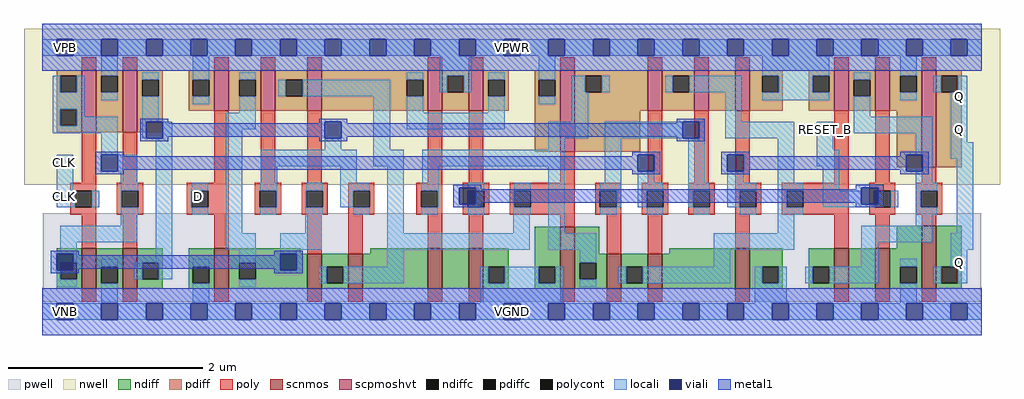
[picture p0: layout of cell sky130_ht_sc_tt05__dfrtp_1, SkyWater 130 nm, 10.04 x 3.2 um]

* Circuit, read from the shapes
.subckt sky130_ht_sc_tt05__dfrtp_1 CLK D RESET_B VGND VNB VPB VPWR Q
XM1 VGND CLK n1 VNB sky130_fd_pr__nfet_01v8 w=0.42 l=0.15
XM2 n2 n1 VGND VNB sky130_fd_pr__nfet_01v8 w=0.42 l=0.15
XM3 n3 D VGND VNB sky130_fd_pr__nfet_01v8 w=0.42 l=0.15
XM4 n4 n1 n3 VNB sky130_fd_pr__nfet_01v8 w=0.36 l=0.15
XM5 n5 n2 n4 VNB sky130_fd_pr__nfet_01v8 w=0.36 l=0.15
XM6 n6 n7 n5 VNB sky130_fd_pr__nfet_01v8 w=0.42 l=0.15
XM7 VGND RESET_B n6 VNB sky130_fd_pr__nfet_01v8 w=0.42 l=0.15
XM8 n7 n4 VGND VNB sky130_fd_pr__nfet_01v8 w=0.64 l=0.15
XM9 n8 n2 n7 VNB sky130_fd_pr__nfet_01v8 w=0.36 l=0.15
XM10 n9 n1 n8 VNB sky130_fd_pr__nfet_01v8 w=0.36 l=0.15
XM11 VGND n10 n9 VNB sky130_fd_pr__nfet_01v8 w=0.42 l=0.15
XM12 n11 n8 n10 VNB sky130_fd_pr__nfet_01v8 w=0.42 l=0.15
XM13 VGND RESET_B n11 VNB sky130_fd_pr__nfet_01v8 w=0.42 l=0.15
XM14 Q n10 VGND VNB sky130_fd_pr__nfet_01v8 w=0.65 l=0.15
XM15 VPWR CLK n1 VPB sky130_fd_pr__pfet_01v8_hvt w=0.64 l=0.15
XM16 n2 n1 VPWR VPB sky130_fd_pr__pfet_01v8_hvt w=0.64 l=0.15
XM17 n3 D VPWR VPB sky130_fd_pr__pfet_01v8_hvt w=0.42 l=0.15
XM18 n4 n2 n3 VPB sky130_fd_pr__pfet_01v8_hvt w=0.42 l=0.15
XM19 n12 n1 n4 VPB sky130_fd_pr__pfet_01v8_hvt w=0.42 l=0.15
XM20 VPWR n7 n12 VPB sky130_fd_pr__pfet_01v8_hvt w=0.42 l=0.15
XM21 n12 RESET_B VPWR VPB sky130_fd_pr__pfet_01v8_hvt w=0.42 l=0.15
XM22 n7 n4 VPWR VPB sky130_fd_pr__pfet_01v8_hvt w=0.84 l=0.15
XM23 n8 n1 n7 VPB sky130_fd_pr__pfet_01v8_hvt w=0.42 l=0.15
XM24 n13 n2 n8 VPB sky130_fd_pr__pfet_01v8_hvt w=0.42 l=0.15
XM25 VPWR n10 n13 VPB sky130_fd_pr__pfet_01v8_hvt w=0.42 l=0.15
XM26 n10 n8 VPWR VPB sky130_fd_pr__pfet_01v8_hvt w=0.42 l=0.15
XM27 VPWR RESET_B n10 VPB sky130_fd_pr__pfet_01v8_hvt w=0.42 l=0.15
XM28 Q n10 VPWR VPB sky130_fd_pr__pfet_01v8_hvt w=1 l=0.15
.ends

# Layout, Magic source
magic
tech sky130A
magscale 1 2
<< nwell >>
rect -38 261 1970 582
<< pwell >>
rect 1 21 1931 203
rect 29 -17 63 21
<< scnmos >>
rect 1809 47 1839 177
rect 1065 47 1095 175
rect 1713 47 1743 131
rect 1629 47 1659 131
rect 793 47 823 131
rect 877 47 907 131
rect 353 47 383 131
rect 1425 47 1455 131
rect 81 47 111 131
rect 165 47 195 131
rect 1161 47 1191 119
rect 1245 47 1275 119
rect 545 47 575 119
rect 629 47 659 119
<< scpmoshvt >>
rect 81 369 111 497
rect 165 369 195 497
rect 353 413 383 497
rect 449 413 479 497
rect 545 413 575 497
rect 793 413 823 497
rect 877 413 907 497
rect 1629 413 1659 497
rect 1713 413 1743 497
rect 1809 297 1839 497
rect 1065 329 1095 497
rect 1245 413 1275 497
rect 1341 413 1371 497
rect 1425 413 1455 497
<< ndiff >>
rect 1743 47 1809 59
rect 1743 59 1765 93
rect 1799 59 1809 93
rect 1743 93 1809 131
rect 1758 131 1809 177
rect 1839 47 1891 59
rect 1839 59 1849 93
rect 1883 59 1891 93
rect 1839 93 1891 177
rect 1095 47 1161 67
rect 1095 67 1105 101
rect 1139 67 1161 101
rect 1095 101 1161 119
rect 1095 119 1146 175
rect 1013 47 1065 59
rect 1013 59 1021 93
rect 1055 59 1065 93
rect 1013 93 1065 175
rect 195 47 247 67
rect 195 67 205 101
rect 239 67 247 101
rect 195 101 247 131
rect 111 47 165 59
rect 111 59 121 93
rect 155 59 165 93
rect 111 93 165 131
rect 1455 47 1523 59
rect 1455 59 1481 93
rect 1515 59 1523 93
rect 1455 93 1523 131
rect 383 47 545 67
rect 383 67 405 101
rect 439 67 545 101
rect 383 101 545 119
rect 383 119 530 131
rect 907 47 959 59
rect 907 59 917 93
rect 951 59 959 93
rect 907 93 959 131
rect 823 47 877 131
rect 659 47 793 119
rect 674 119 793 131
rect 301 47 353 59
rect 301 59 309 93
rect 343 59 353 93
rect 301 93 353 131
rect 1275 47 1425 119
rect 1290 119 1425 131
rect 29 47 81 67
rect 29 67 37 101
rect 71 67 81 101
rect 29 101 81 131
rect 1577 47 1629 59
rect 1577 59 1585 93
rect 1619 59 1629 93
rect 1577 93 1629 131
rect 1659 47 1713 131
rect 1191 47 1245 59
rect 1191 59 1201 93
rect 1235 59 1245 93
rect 1191 93 1245 119
rect 575 47 629 59
rect 575 59 585 93
rect 619 59 629 93
rect 575 93 629 119
<< pdiff >>
rect 1371 413 1425 497
rect 1455 413 1523 451
rect 1455 451 1481 485
rect 1515 451 1523 485
rect 1455 485 1523 497
rect 1013 329 1065 443
rect 1013 443 1021 477
rect 1055 443 1065 477
rect 1013 477 1065 497
rect 1577 413 1629 451
rect 1577 451 1585 485
rect 1619 451 1629 485
rect 1577 485 1629 497
rect 301 413 353 443
rect 301 443 309 477
rect 343 443 353 477
rect 301 477 353 497
rect 29 369 81 383
rect 29 383 37 417
rect 71 383 81 417
rect 29 417 81 451
rect 29 451 37 485
rect 71 451 81 485
rect 29 485 81 497
rect 111 369 165 451
rect 111 451 121 485
rect 155 451 165 485
rect 111 485 165 497
rect 195 369 247 443
rect 195 443 205 477
rect 239 443 247 477
rect 195 477 247 497
rect 383 413 449 443
rect 383 443 405 477
rect 439 443 449 477
rect 383 477 449 497
rect 479 413 545 443
rect 479 443 501 477
rect 535 443 545 477
rect 479 477 545 497
rect 823 413 877 451
rect 823 451 833 485
rect 867 451 877 485
rect 823 485 877 497
rect 907 413 959 443
rect 907 443 917 477
rect 951 443 959 477
rect 907 477 959 497
rect 1659 413 1713 443
rect 1659 443 1669 477
rect 1703 443 1713 477
rect 1659 477 1713 497
rect 1758 297 1809 413
rect 1743 413 1809 451
rect 1743 451 1765 485
rect 1799 451 1809 485
rect 1743 485 1809 497
rect 1839 297 1891 451
rect 1839 451 1849 485
rect 1883 451 1891 485
rect 1839 485 1891 497
rect 1095 329 1230 413
rect 1095 413 1245 451
rect 1095 451 1117 485
rect 1151 451 1245 485
rect 1095 485 1245 497
rect 1275 413 1341 451
rect 1275 451 1297 485
rect 1331 451 1341 485
rect 1275 485 1341 497
rect 575 413 793 443
rect 575 443 749 477
rect 783 443 793 477
rect 575 477 793 497
<< ndiffc >>
rect 37 67 71 101
rect 205 67 239 101
rect 1105 67 1139 101
rect 405 67 439 101
rect 1481 59 1515 93
rect 121 59 155 93
rect 917 59 951 93
rect 1585 59 1619 93
rect 1021 59 1055 93
rect 309 59 343 93
rect 1765 59 1799 93
rect 1201 59 1235 93
rect 1849 59 1883 93
rect 585 59 619 93
<< pdiffc >>
rect 37 451 71 485
rect 121 451 155 485
rect 833 451 867 485
rect 1117 451 1151 485
rect 1297 451 1331 485
rect 1585 451 1619 485
rect 1765 451 1799 485
rect 1849 451 1883 485
rect 1481 451 1515 485
rect 309 443 343 477
rect 501 443 535 477
rect 1669 443 1703 477
rect 1021 443 1055 477
rect 405 443 439 477
rect 205 443 239 477
rect 749 443 783 477
rect 917 443 951 477
rect 37 383 71 417
<< poly >>
rect 1713 497 1743 523
rect 449 497 479 523
rect 1425 497 1455 523
rect 165 497 195 523
rect 793 497 823 523
rect 1245 497 1275 523
rect 1341 497 1371 523
rect 545 497 575 523
rect 877 497 907 523
rect 1629 497 1659 523
rect 81 497 111 523
rect 353 497 383 523
rect 1809 497 1839 523
rect 1065 497 1095 523
rect 1629 131 1659 199
rect 1521 199 1659 215
rect 1521 215 1531 249
rect 1565 215 1659 249
rect 1521 249 1659 265
rect 1629 265 1659 413
rect 1713 131 1743 199
rect 1701 199 1755 215
rect 1701 215 1711 249
rect 1745 215 1755 249
rect 1701 249 1755 265
rect 1713 265 1743 413
rect 1425 131 1455 199
rect 1425 199 1479 215
rect 1425 215 1435 249
rect 1469 215 1479 249
rect 1425 249 1479 265
rect 1425 265 1455 413
rect 1329 199 1383 215
rect 1329 215 1339 249
rect 1373 215 1383 249
rect 1329 249 1383 265
rect 1341 265 1371 413
rect 1245 119 1275 199
rect 1233 199 1287 215
rect 1233 215 1243 249
rect 1277 215 1287 249
rect 1233 249 1287 265
rect 1245 265 1275 413
rect 353 131 383 199
rect 297 199 383 215
rect 297 215 307 249
rect 341 215 383 249
rect 297 249 383 265
rect 353 265 383 413
rect 437 199 491 215
rect 437 215 447 249
rect 481 215 491 249
rect 437 249 491 265
rect 449 265 479 413
rect 545 119 575 199
rect 533 199 587 215
rect 533 215 543 249
rect 577 215 587 249
rect 533 249 587 265
rect 545 265 575 413
rect 793 131 823 199
rect 769 199 823 215
rect 769 215 779 249
rect 813 215 823 249
rect 769 249 823 265
rect 793 265 823 413
rect 877 131 907 199
rect 865 199 919 215
rect 865 215 875 249
rect 909 215 919 249
rect 865 249 919 265
rect 877 265 907 413
rect 81 131 111 199
rect 57 199 111 215
rect 57 215 67 249
rect 101 215 111 249
rect 57 249 111 265
rect 81 265 111 369
rect 165 131 195 199
rect 153 199 207 215
rect 153 215 163 249
rect 197 215 207 249
rect 153 249 207 265
rect 165 265 195 369
rect 1065 175 1095 199
rect 961 199 1095 215
rect 961 215 971 249
rect 1005 215 1095 249
rect 961 249 1095 265
rect 1065 265 1095 329
rect 1809 177 1839 199
rect 1797 199 1851 215
rect 1797 215 1807 249
rect 1841 215 1851 249
rect 1797 249 1851 265
rect 1809 265 1839 297
rect 1161 119 1191 199
rect 1137 199 1191 215
rect 1137 215 1147 249
rect 1181 215 1191 249
rect 1137 249 1191 265
rect 629 119 659 199
rect 629 199 683 215
rect 629 215 639 249
rect 673 215 683 249
rect 629 249 683 265
rect 81 21 111 47
rect 877 21 907 47
rect 793 21 823 47
rect 629 21 659 47
rect 545 21 575 47
rect 353 21 383 47
rect 1425 21 1455 47
rect 1245 21 1275 47
rect 1161 21 1191 47
rect 1065 21 1095 47
rect 1809 21 1839 47
rect 1713 21 1743 47
rect 1629 21 1659 47
rect 165 21 195 47
<< polycont >>
rect 1147 215 1181 249
rect 543 215 577 249
rect 163 215 197 249
rect 67 215 101 249
rect 639 215 673 249
rect 1711 215 1745 249
rect 307 215 341 249
rect 1435 215 1469 249
rect 1339 215 1373 249
rect 1531 215 1565 249
rect 1807 215 1841 249
rect 779 215 813 249
rect 1243 215 1277 249
rect 447 215 481 249
rect 875 215 909 249
rect 971 215 1005 249
<< locali >>
rect 121 485 155 527
rect 63 527 121 561
rect 155 527 213 561
rect 1811 527 1869 561
rect 1903 527 1932 561
rect 749 477 783 493
rect 917 477 951 493
rect 205 477 239 493
rect 1669 477 1703 493
rect 405 477 439 493
rect 1105 101 1139 127
rect 1041 127 1139 161
rect 1041 161 1075 215
rect 813 215 815 249
rect 1041 215 1075 249
rect 779 249 815 265
rect 1041 249 1075 265
rect 781 265 815 299
rect 1041 265 1075 299
rect 781 299 1075 333
rect 1041 333 1075 357
rect 1041 357 1123 391
rect 1089 391 1123 451
rect 1089 451 1117 485
rect 1235 59 1415 93
rect 1381 93 1415 127
rect 1381 127 1547 161
rect 1513 161 1547 199
rect 1513 199 1565 215
rect 1513 215 1531 249
rect 1513 249 1565 265
rect 1513 265 1547 357
rect 1405 357 1547 391
rect 1405 391 1439 451
rect 1331 451 1439 485
rect 1883 59 1903 93
rect 1869 93 1903 127
rect 1869 127 1915 161
rect 1881 161 1915 315
rect 1869 315 1915 349
rect 1869 349 1903 451
rect 1883 451 1903 485
rect 1151 451 1167 485
rect 1833 451 1849 485
rect 1281 451 1297 485
rect 619 59 743 93
rect 709 93 743 127
rect 709 127 1003 161
rect 709 161 743 199
rect 969 161 1003 199
rect 709 199 743 215
rect 969 199 1005 215
rect 709 215 743 249
rect 969 215 971 249
rect 709 249 743 265
rect 971 249 1005 265
rect 709 265 743 299
rect 681 299 743 333
rect 681 333 715 443
rect 535 443 715 477
rect 485 443 501 477
rect 1765 435 1799 451
rect 121 435 155 451
rect 239 67 267 101
rect 233 101 267 357
rect 247 357 267 391
rect 309 427 343 443
rect 405 101 439 127
rect 377 127 439 161
rect 377 161 411 375
rect 377 375 439 409
rect 405 409 439 443
rect 1021 427 1055 443
rect 749 375 951 409
rect 749 409 783 443
rect 917 409 951 443
rect 1605 215 1711 221
rect 1605 221 1685 249
rect 1605 249 1639 299
rect 1593 299 1639 333
rect 1593 333 1627 391
rect 639 199 673 215
rect 481 215 483 249
rect 613 215 639 249
rect 447 249 483 265
rect 613 249 673 265
rect 449 265 483 299
rect 613 265 647 299
rect 449 299 647 333
rect 581 333 615 357
rect 1181 215 1191 249
rect 1147 249 1191 265
rect 1157 265 1191 357
rect 1157 357 1317 391
rect 29 215 67 249
rect 29 249 63 323
rect 1619 59 1719 93
rect 1685 93 1719 143
rect 1685 143 1831 177
rect 1797 177 1831 199
rect 1797 199 1841 215
rect 1797 215 1807 249
rect 1797 249 1841 265
rect 1797 265 1831 289
rect 1811 289 1831 323
rect 1797 323 1831 367
rect 1669 367 1831 401
rect 1669 401 1703 443
rect 63 101 71 119
rect 29 119 71 125
rect 37 125 71 143
rect 37 143 195 177
rect 161 177 195 199
rect 161 199 197 215
rect 161 215 163 249
rect 161 249 197 265
rect 161 265 195 289
rect 155 289 195 323
rect 121 323 155 367
rect 21 367 155 383
rect 21 383 37 401
rect 71 383 155 401
rect 21 401 37 417
rect 71 401 87 417
rect 21 417 87 451
rect 21 451 37 485
rect 71 451 87 485
rect 1435 199 1469 215
rect 1409 215 1435 249
rect 1409 249 1469 265
rect 1409 265 1443 289
rect 1243 199 1277 215
rect 1225 215 1243 249
rect 1225 249 1277 265
rect 1225 265 1259 289
rect 891 249 909 255
rect 875 255 909 265
rect 307 199 341 215
rect 305 215 307 249
rect 305 249 341 255
rect 307 255 341 265
rect 489 119 523 127
rect 489 127 575 161
rect 541 161 575 199
rect 541 199 577 215
rect 541 215 543 249
rect 543 249 577 265
rect 101 215 117 249
rect 1745 215 1761 249
rect 875 199 909 215
rect 779 199 813 215
rect 447 199 481 215
rect 1147 199 1181 215
rect 1765 93 1799 109
rect 309 93 343 109
rect 121 93 155 109
rect 189 67 205 101
rect 1185 59 1201 93
rect 1903 -17 1932 17
rect 1569 59 1585 93
rect 1833 59 1849 93
rect 569 59 585 93
rect 405 51 439 67
rect 1105 51 1139 67
rect 0 527 29 561
rect 1021 477 1055 527
rect 983 527 1041 561
rect 891 527 949 561
rect 1481 435 1619 451
rect 1515 451 1585 485
rect 1481 485 1619 527
rect 1443 527 1501 561
rect 1535 527 1593 561
rect 1351 527 1409 561
rect 1259 527 1317 561
rect 1167 527 1225 561
rect 1075 527 1133 561
rect 1765 485 1799 527
rect 1719 527 1777 561
rect 1627 527 1685 561
rect 309 477 343 527
rect 339 527 397 561
rect 247 527 305 561
rect 817 451 833 485
rect 867 451 883 485
rect 817 485 883 527
rect 799 527 857 561
rect 707 527 765 561
rect 615 527 673 561
rect 523 527 581 561
rect 431 527 489 561
rect 205 357 213 391
rect 205 391 239 443
rect 1339 199 1373 215
rect 1329 215 1339 249
rect 1329 249 1373 265
rect 1329 265 1363 357
rect 1351 357 1363 391
rect 29 51 71 67
rect 29 67 37 85
rect 1811 -17 1869 17
rect 1719 -17 1777 17
rect 1765 17 1799 59
rect 1627 -17 1685 17
rect 1535 -17 1593 17
rect 1443 -17 1501 17
rect 1465 17 1531 59
rect 1465 59 1481 93
rect 1515 59 1531 93
rect 1167 -17 1225 17
rect 1259 -17 1317 17
rect 1351 -17 1409 17
rect 891 -17 949 17
rect 983 -17 1041 17
rect 1075 -17 1133 17
rect 901 17 1071 59
rect 901 59 917 93
rect 951 59 1021 93
rect 1055 59 1071 93
rect 799 -17 857 17
rect 707 -17 765 17
rect 339 -17 397 17
rect 431 -17 489 17
rect 523 -17 581 17
rect 615 -17 673 17
rect 309 17 343 59
rect 247 -17 305 17
rect 63 -17 121 17
rect 155 -17 213 17
rect 121 17 155 59
rect 0 -17 29 17
<< viali >>
rect 1869 527 1903 561
rect 673 527 707 561
rect 29 527 63 561
rect 1041 527 1075 561
rect 1501 527 1535 561
rect 213 527 247 561
rect 1225 527 1259 561
rect 1777 527 1811 561
rect 1409 527 1443 561
rect 949 527 983 561
rect 581 527 615 561
rect 305 527 339 561
rect 857 527 891 561
rect 397 527 431 561
rect 1593 527 1627 561
rect 1133 527 1167 561
rect 1317 527 1351 561
rect 489 527 523 561
rect 1685 527 1719 561
rect 121 527 155 561
rect 765 527 799 561
rect 581 357 615 391
rect 1317 357 1351 391
rect 213 357 247 391
rect 1777 289 1811 323
rect 1409 289 1443 323
rect 1225 289 1259 323
rect 121 289 155 323
rect 857 221 891 255
rect 1685 221 1719 255
rect 489 85 523 119
rect 29 85 63 119
rect 1317 -17 1351 17
rect 1685 -17 1719 17
rect 857 -17 891 17
rect 489 -17 523 17
rect 397 -17 431 17
rect 305 -17 339 17
rect 121 -17 155 17
rect 949 -17 983 17
rect 1593 -17 1627 17
rect 29 -17 63 17
rect 213 -17 247 17
rect 673 -17 707 17
rect 1225 -17 1259 17
rect 1041 -17 1075 17
rect 581 -17 615 17
rect 1409 -17 1443 17
rect 1501 -17 1535 17
rect 1133 -17 1167 17
rect 765 -17 799 17
rect 1777 -17 1811 17
rect 1869 -17 1903 17
<< metal1 >>
rect 0 496 1932 527
rect 0 527 29 561
rect 63 527 121 561
rect 155 527 213 561
rect 247 527 305 561
rect 339 527 397 561
rect 431 527 489 561
rect 523 527 581 561
rect 615 527 673 561
rect 707 527 765 561
rect 799 527 857 561
rect 891 527 949 561
rect 983 527 1041 561
rect 1075 527 1133 561
rect 1167 527 1225 561
rect 1259 527 1317 561
rect 1351 527 1409 561
rect 1443 527 1501 561
rect 1535 527 1593 561
rect 1627 527 1685 561
rect 1719 527 1777 561
rect 1811 527 1869 561
rect 1903 527 1932 561
rect 0 561 1932 592
rect 201 351 259 357
rect 569 351 627 357
rect 1305 351 1363 357
rect 201 357 213 360
rect 247 357 259 360
rect 569 357 581 360
rect 615 357 627 360
rect 1305 357 1317 360
rect 1351 357 1363 360
rect 201 360 213 388
rect 247 360 581 388
rect 615 360 1317 388
rect 1351 360 1363 388
rect 201 388 213 391
rect 247 388 259 391
rect 569 388 581 391
rect 615 388 627 391
rect 1305 388 1317 391
rect 1351 388 1363 391
rect 201 391 259 397
rect 569 391 627 397
rect 1305 391 1363 397
rect 109 283 167 289
rect 1213 283 1271 289
rect 109 289 121 292
rect 155 289 167 292
rect 1213 289 1225 292
rect 1259 289 1271 292
rect 109 292 121 320
rect 155 292 1225 320
rect 1259 292 1271 320
rect 109 320 121 323
rect 155 320 167 323
rect 1213 320 1225 323
rect 1259 320 1271 323
rect 109 323 167 329
rect 1213 323 1271 329
rect 1397 283 1455 289
rect 1765 283 1823 289
rect 1397 289 1409 292
rect 1443 289 1455 292
rect 1765 289 1777 292
rect 1811 289 1823 292
rect 1397 292 1409 320
rect 1443 292 1777 320
rect 1811 292 1823 320
rect 1397 320 1409 323
rect 1443 320 1455 323
rect 1765 320 1777 323
rect 1811 320 1823 323
rect 1397 323 1455 329
rect 1765 323 1823 329
rect 845 215 903 221
rect 1673 215 1731 221
rect 845 221 857 224
rect 891 221 903 224
rect 1673 221 1685 224
rect 1719 221 1731 224
rect 845 224 857 252
rect 891 224 1685 252
rect 1719 224 1731 252
rect 845 252 857 255
rect 891 252 903 255
rect 1673 252 1685 255
rect 1719 252 1731 255
rect 845 255 903 261
rect 1673 255 1731 261
rect 17 79 75 85
rect 477 79 535 85
rect 17 85 29 88
rect 63 85 75 88
rect 477 85 489 88
rect 523 85 535 88
rect 17 88 29 116
rect 63 88 489 116
rect 523 88 535 116
rect 17 116 29 119
rect 63 116 75 119
rect 477 116 489 119
rect 523 116 535 119
rect 17 119 75 125
rect 477 119 535 125
rect 0 -48 1932 -17
rect 0 -17 29 17
rect 63 -17 121 17
rect 155 -17 213 17
rect 247 -17 305 17
rect 339 -17 397 17
rect 431 -17 489 17
rect 523 -17 581 17
rect 615 -17 673 17
rect 707 -17 765 17
rect 799 -17 857 17
rect 891 -17 949 17
rect 983 -17 1041 17
rect 1075 -17 1133 17
rect 1167 -17 1225 17
rect 1259 -17 1317 17
rect 1351 -17 1409 17
rect 1443 -17 1501 17
rect 1535 -17 1593 17
rect 1627 -17 1685 17
rect 1719 -17 1777 17
rect 1811 -17 1869 17
rect 1903 -17 1932 17
rect 0 17 1932 48
<< labels >>
flabel locali s 29 221 63 255 0 FreeSans 200 0 0 0 CLK
port 1 nsew signal input
flabel locali s 29 289 63 323 0 FreeSans 200 0 0 0 CLK
port 1 nsew signal input
flabel locali s 305 221 339 255 0 FreeSans 200 0 0 0 D
port 2 nsew signal input
flabel locali s 1593 357 1627 391 0 FreeSans 200 0 0 0 RESET_B
port 3 nsew signal input
flabel locali s 1869 85 1903 119 0 FreeSans 200 0 0 0 Q
port 8 nsew signal output
flabel locali s 1869 357 1903 391 0 FreeSans 200 0 0 0 Q
port 8 nsew signal output
flabel locali s 1869 425 1903 459 0 FreeSans 200 0 0 0 Q
port 8 nsew signal output
flabel pwell s 30 -17 64 17 0 FreeSans 200 0 0 0 VNB
port 5 nsew ground bidirectional
flabel nwell s 30 527 64 561 0 FreeSans 200 0 0 0 VPB
port 6 nsew power bidirectional
flabel metal1 s 30 -17 64 17 0 FreeSans 200 0 0 0 VGND
port 4 nsew ground bidirectional abutment
flabel metal1 s 30 527 64 561 0 FreeSans 200 0 0 0 VPWR
port 7 nsew power bidirectional abutment
rlabel metal1 s 0 -48 1932 48 1 VGND
port 4 nsew ground bidirectional abutment
rlabel metal1 s 0 496 1932 592 1 VPWR
port 7 nsew power bidirectional abutment
rlabel comment s 0 0 0 0 4 dfrtp_1
<< properties >>
string FIXED_BBOX 0 0 1932 544
string GDS_FILE $PDKPATH/libs.ref/sky130_fd_sc_hd/gds/sky130_ht_sc_tt05.gds
string GDS_START 23860
string GDS_END 37716
string LEFclass CORE
string LEFsite unithd
string LEFsymmetry X Y R90
<< end >>
